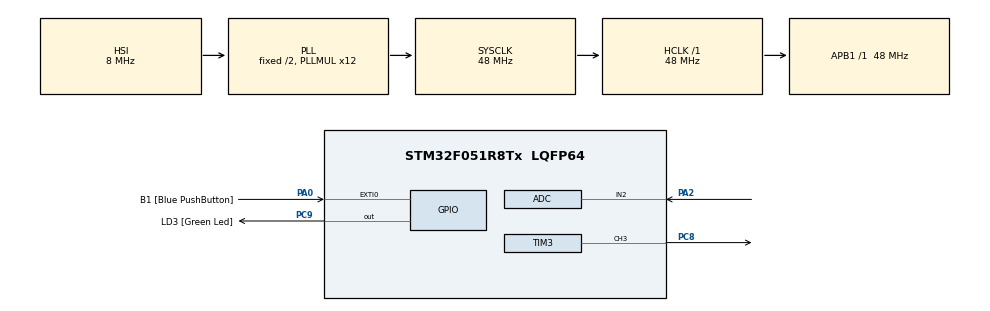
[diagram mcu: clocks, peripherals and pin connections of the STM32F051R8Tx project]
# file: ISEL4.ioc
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ADC.ClockPrescaler=ADC_CLOCK_ASYNC_DIV1
ADC.ContinuousConvMode=DISABLE
ADC.DMAContinuousRequests=DISABLE
ADC.DataAlign=ADC_DATAALIGN_RIGHT
ADC.DiscontinuousConvMode=DISABLE
ADC.EOCSelection=ADC_EOC_SINGLE_SEQ_CONV
ADC.EnableAnalogWatchDog=false
ADC.ExternalTrigConv=ADC_SOFTWARE_START
ADC.ExternalTrigConvEdge=ADC_EXTERNALTRIGCONVEDGE_NONE
ADC.LowPowerAutoPowerOff=ENABLE
ADC.LowPowerAutoWait=ENABLE
ADC.Overrun=ADC_OVR_DATA_PRESERVED
ADC.Resolution=ADC_RESOLUTION_12B
ADC.SamplingTime=ADC_SAMPLETIME_239CYCLES_5
ADC.ScanConvMode=ADC_SCAN_DIRECTION_FORWARD
FREERTOS.Tasks01=defaultTask,0,128,StartDefaultTask,Default,NULL,Dynamic,NULL,NULL
Mcu.Family=STM32F0
Mcu.Name=STM32F051R8Tx
Mcu.Package=LQFP64
NVIC.ADC1_COMP_IRQn=true\:3\:0\:false\:false\:true\:true
PA0.GPIO_Label=B1 [Blue PushButton]
PA0.GPIO_ModeDefaultEXTI=GPIO_MODE_EVT_RISING
PA0.Signal=GPXTI0
PA13.GPIO_Label=SWDIO
PA13.Signal=SYS_SWDIO
PA14.GPIO_Label=SWCLK
PA14.Signal=SYS_SWCLK
PA2.Mode=IN2
PA2.Signal=ADC_IN2
PC8.Signal=S_TIM3_CH3
PC9.GPIO_Label=LD3 [Green Led]
PC9.Signal=GPIO_Output
ProjectManager.HeapSize=0x200
ProjectManager.StackSize=0x400
ProjectManager.TargetToolchain=SW4STM32
RCC.AHBFreq_Value=48000000
RCC.APB1Freq_Value=48000000
RCC.APB1TimFreq_Value=48000000
RCC.HCLKFreq_Value=48000000
RCC.PLLMUL=RCC_PLL_MUL12
RCC.SYSCLKFreq_VALUE=48000000
RCC.SYSCLKSource=RCC_SYSCLKSOURCE_PLLCLK
SH.S_TIM3_CH3.0=TIM3_CH3,PWM Generation3 CH3
TIM3.Channel-PWM\ Generation3\ CH3=TIM_CHANNEL_3
TIM3.Period=200
TIM3.Prescaler=24
VP_FREERTOS_VS_ENABLE.Mode=Enabled
VP_TIM3_VS_ClockSourceINT.Mode=Internal
board=STM32F0DISCOVERY

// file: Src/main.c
/**
  ******************************************************************************
  * File Name          : main.c
  * Description        : Main program body
  ******************************************************************************
  *
  * Copyright (c) 2017 STMicroelectronics International N.V.
  * All rights reserved.
  *
  * Redistribution and use in source and binary forms, with or without
  * modification, are permitted, provided that the following conditions are met:
  *
  * 1. Redistribution of source code must retain the above copyright notice,
  *    this list of conditions and the following disclaimer.
  * 2. Redistributions in binary form must reproduce the above copyright notice,
  *    this list of conditions and the following disclaimer in the documentation
  *    and/or other materials provided with the distribution.
  * 3. Neither the name of STMicroelectronics nor the names of other
  *    contributors to this software may be used to endorse or promote products
  *    derived from this software without specific written permission.
  * 4. This software, including modifications and/or derivative works of this
  *    software, must execute solely and exclusively on microcontroller or
  *    microprocessor devices manufactured by or for STMicroelectronics.
  * 5. Redistribution and use of this software other than as permitted under
  *    this license is void and will automatically terminate your rights under
  *    this license.
  *
  * THIS SOFTWARE IS PROVIDED BY STMICROELECTRONICS AND CONTRIBUTORS "AS IS"
  * AND ANY EXPRESS, IMPLIED OR STATUTORY WARRANTIES, INCLUDING, BUT NOT
  * LIMITED TO, THE IMPLIED WARRANTIES OF MERCHANTABILITY, FITNESS FOR A
  * PARTICULAR PURPOSE AND NON-INFRINGEMENT OF THIRD PARTY INTELLECTUAL PROPERTY
  * RIGHTS ARE DISCLAIMED TO THE FULLEST EXTENT PERMITTED BY LAW. IN NO EVENT
  * SHALL STMICROELECTRONICS OR CONTRIBUTORS BE LIABLE FOR ANY DIRECT, INDIRECT,
  * INCIDENTAL, SPECIAL, EXEMPLARY, OR CONSEQUENTIAL DAMAGES (INCLUDING, BUT NOT
  * LIMITED TO, PROCUREMENT OF SUBSTITUTE GOODS OR SERVICES; LOSS OF USE, DATA,
  * OR PROFITS; OR BUSINESS INTERRUPTION) HOWEVER CAUSED AND ON ANY THEORY OF
  * LIABILITY, WHETHER IN CONTRACT, STRICT LIABILITY, OR TORT (INCLUDING
  * NEGLIGENCE OR OTHERWISE) ARISING IN ANY WAY OUT OF THE USE OF THIS SOFTWARE,
  * EVEN IF ADVISED OF THE POSSIBILITY OF SUCH DAMAGE.
  *
  ******************************************************************************
  */
#include "main.h"
#include "stm32f0xx_hal.h"
#include "cmsis_os.h"

/* USER CODE BEGIN Includes */
#include "FreeRTOSConfig.h"
#include "fsm.h"
#include "led.h"
#include "ldr.h"
/* USER CODE END Includes */

TIM_HandleTypeDef htim3;

osThreadId defaultTaskHandle;

/* USER CODE BEGIN PV */
/* Private variables ---------------------------------------------------------*/

/* USER CODE END PV */

void SystemClock_Config(void);
void Error_Handler(void);
static void MX_GPIO_Init(void);
static void MX_TIM3_Init(void);
static void MX_ADC_Init(void);
void StartDefaultTask(void const * argument);

void HAL_TIM_MspPostInit(TIM_HandleTypeDef *htim);

/* USER CODE BEGIN PFP */
/* Private function prototypes -----------------------------------------------*/

/* USER CODE END PFP */

/* USER CODE BEGIN 0 */
TickType_t timer_endtime;
static void timer_start(int ms) {
	TickType_t time = pdMS_TO_TICKS(ms);
	timer_endtime = xTaskGetTickCount();
	timer_endtime += time;

}
static int timer_finished(fsm_t* this) {
	TickType_t now = xTaskGetTickCount();
	return (timer_endtime < now);
}

/* USER CODE END 0 */

int main(void)
{

  /* MCU Configuration----------------------------------------------------------*/

  /* Reset of all peripherals, Initializes the Flash interface and the Systick. */
  HAL_Init();

  /* Configure the system clock */
  SystemClock_Config();

  /* Initialize all configured peripherals */
  MX_GPIO_Init();
  MX_TIM3_Init();
  MX_ADC_Init();

  /* USER CODE BEGIN 2 */
  HAL_TIM_PWM_Start(&htim3, TIM_CHANNEL_3);
  //HAL_ADC_Start_IT(&hadc);
  /* USER CODE END 2 */

  /* Create the thread(s) */
  /* definition and creation of defaultTask */

  //osThreadDef(defaultTask, StartDefaultTask, osPriorityNormal, 0, 128);
  //defaultTaskHandle = osThreadCreate(osThread(defaultTask), NULL);

  /* USER CODE BEGIN RTOS_THREADS */
  /* add threads, ... */
  vLed();
  vLdr();

  /* USER CODE END RTOS_THREADS */

  /* Start scheduler */
  osKernelStart();

  /* We should never get here as control is now taken by the scheduler */

  /* Infinite loop */
  while(1){

  }

}

/** System Clock Configuration
*/
void SystemClock_Config(void)
{

  RCC_OscInitTypeDef RCC_OscInitStruct;
  RCC_ClkInitTypeDef RCC_ClkInitStruct;

    /**Initializes the CPU, AHB and APB busses clocks
    */
  RCC_OscInitStruct.OscillatorType = RCC_OSCILLATORTYPE_HSI|RCC_OSCILLATORTYPE_HSI14;
  RCC_OscInitStruct.HSIState = RCC_HSI_ON;
  RCC_OscInitStruct.HSI14State = RCC_HSI14_ON;
  RCC_OscInitStruct.HSICalibrationValue = 16;
  RCC_OscInitStruct.HSI14CalibrationValue = 16;
  RCC_OscInitStruct.PLL.PLLState = RCC_PLL_ON;
  RCC_OscInitStruct.PLL.PLLSource = RCC_PLLSOURCE_HSI;
  RCC_OscInitStruct.PLL.PLLMUL = RCC_PLL_MUL12;
  RCC_OscInitStruct.PLL.PREDIV = RCC_PREDIV_DIV1;
  if (HAL_RCC_OscConfig(&RCC_OscInitStruct) != HAL_OK)
  {
    Error_Handler();
  }

    /**Initializes the CPU, AHB and APB busses clocks
    */
  RCC_ClkInitStruct.ClockType = RCC_CLOCKTYPE_HCLK|RCC_CLOCKTYPE_SYSCLK
                              |RCC_CLOCKTYPE_PCLK1;
  RCC_ClkInitStruct.SYSCLKSource = RCC_SYSCLKSOURCE_PLLCLK;
  RCC_ClkInitStruct.AHBCLKDivider = RCC_SYSCLK_DIV1;
  RCC_ClkInitStruct.APB1CLKDivider = RCC_HCLK_DIV1;

  if (HAL_RCC_ClockConfig(&RCC_ClkInitStruct, FLASH_LATENCY_1) != HAL_OK)
  {
    Error_Handler();
  }

    /**Configure the Systick interrupt time
    */
  HAL_SYSTICK_Config(HAL_RCC_GetHCLKFreq()/1000);

    /**Configure the Systick
    */
  HAL_SYSTICK_CLKSourceConfig(SYSTICK_CLKSOURCE_HCLK);

  /* SysTick_IRQn interrupt configuration */
  HAL_NVIC_SetPriority(SysTick_IRQn, 3, 0);
}

/* ADC init function */
static void MX_ADC_Init(void)
{

  ADC_ChannelConfTypeDef sConfig;
    /**Configure the global features of the ADC (Clock, Resolution, Data Alignment and number of conversion)
    */
  hadc.Instance = ADC1;
  hadc.Init.ClockPrescaler = ADC_CLOCK_ASYNC_DIV1;
  hadc.Init.Resolution = ADC_RESOLUTION_12B;
  hadc.Init.DataAlign = ADC_DATAALIGN_RIGHT;
  hadc.Init.ScanConvMode = ADC_SCAN_DIRECTION_FORWARD;
  hadc.Init.EOCSelection = ADC_EOC_SINGLE_SEQ_CONV;
  hadc.Init.LowPowerAutoWait = ENABLE;
  hadc.Init.LowPowerAutoPowerOff = ENABLE;
  hadc.Init.ContinuousConvMode = DISABLE;
  hadc.Init.DiscontinuousConvMode = DISABLE;
  hadc.Init.ExternalTrigConv = ADC_SOFTWARE_START;
  hadc.Init.ExternalTrigConvEdge = ADC_EXTERNALTRIGCONVEDGE_NONE;
  hadc.Init.DMAContinuousRequests = DISABLE;
  hadc.Init.Overrun = ADC_OVR_DATA_PRESERVED;
  if (HAL_ADC_Init(&hadc) != HAL_OK)
  {
    Error_Handler();
  }

    /**Configure for the selected ADC regular channel to be converted.
    */
  sConfig.Channel = ADC_CHANNEL_2;
  sConfig.Rank = ADC_RANK_CHANNEL_NUMBER;
  sConfig.SamplingTime = ADC_SAMPLETIME_239CYCLES_5;
  if (HAL_ADC_ConfigChannel(&hadc, &sConfig) != HAL_OK)
  {
    Error_Handler();
  }

}

/* TIM3 init function */
static void MX_TIM3_Init(void)
{

  TIM_ClockConfigTypeDef sClockSourceConfig;
  TIM_MasterConfigTypeDef sMasterConfig;
  TIM_OC_InitTypeDef sConfigOC;

  htim3.Instance = TIM3;
  htim3.Init.Prescaler = 24;
  htim3.Init.CounterMode = TIM_COUNTERMODE_UP;
  htim3.Init.Period = 200;
  htim3.Init.ClockDivision = TIM_CLOCKDIVISION_DIV1;
  htim3.Init.AutoReloadPreload = TIM_AUTORELOAD_PRELOAD_DISABLE;
  if (HAL_TIM_Base_Init(&htim3) != HAL_OK)
  {
    Error_Handler();
  }

  sClockSourceConfig.ClockSource = TIM_CLOCKSOURCE_INTERNAL;
  if (HAL_TIM_ConfigClockSource(&htim3, &sClockSourceConfig) != HAL_OK)
  {
    Error_Handler();
  }

  if (HAL_TIM_PWM_Init(&htim3) != HAL_OK)
  {
    Error_Handler();
  }

  sMasterConfig.MasterOutputTrigger = TIM_TRGO_RESET;
  sMasterConfig.MasterSlaveMode = TIM_MASTERSLAVEMODE_DISABLE;
  if (HAL_TIMEx_MasterConfigSynchronization(&htim3, &sMasterConfig) != HAL_OK)
  {
    Error_Handler();
  }

  sConfigOC.OCMode = TIM_OCMODE_PWM1;
  sConfigOC.Pulse = 0;
  sConfigOC.OCPolarity = TIM_OCPOLARITY_HIGH;
  sConfigOC.OCFastMode = TIM_OCFAST_DISABLE;
  if (HAL_TIM_PWM_ConfigChannel(&htim3, &sConfigOC, TIM_CHANNEL_3) != HAL_OK)
  {
    Error_Handler();
  }

  HAL_TIM_MspPostInit(&htim3);

}

/** Configure pins as
        * Analog
        * Input
        * Output
        * EVENT_OUT
        * EXTI
*/
static void MX_GPIO_Init(void)
{

  GPIO_InitTypeDef GPIO_InitStruct;

  /* GPIO Ports Clock Enable */
  __HAL_RCC_GPIOA_CLK_ENABLE();
  __HAL_RCC_GPIOC_CLK_ENABLE();

  /*Configure GPIO pin Output Level */
  HAL_GPIO_WritePin(LD3_GPIO_Port, LD3_Pin, GPIO_PIN_RESET);

  /*Configure GPIO pin : B1_Pin */
  GPIO_InitStruct.Pin = B1_Pin;
  GPIO_InitStruct.Mode = GPIO_MODE_EVT_RISING;
  GPIO_InitStruct.Pull = GPIO_NOPULL;
  HAL_GPIO_Init(B1_GPIO_Port, &GPIO_InitStruct);

  /*Configure GPIO pin : LD3_Pin */
  GPIO_InitStruct.Pin = LD3_Pin;
  GPIO_InitStruct.Mode = GPIO_MODE_OUTPUT_PP;
  GPIO_InitStruct.Pull = GPIO_NOPULL;
  GPIO_InitStruct.Speed = GPIO_SPEED_FREQ_LOW;
  HAL_GPIO_Init(LD3_GPIO_Port, &GPIO_InitStruct);

}

/* StartDefaultTask function */
void StartDefaultTask(void const * argument)
{

  for(;;)
  {
    osDelay(1);
  }
}

void Error_Handler(void)
{
  while(1)
  {
  }
}

/************************ (C) COPYRIGHT STMicroelectronics *****END OF FILE****/
